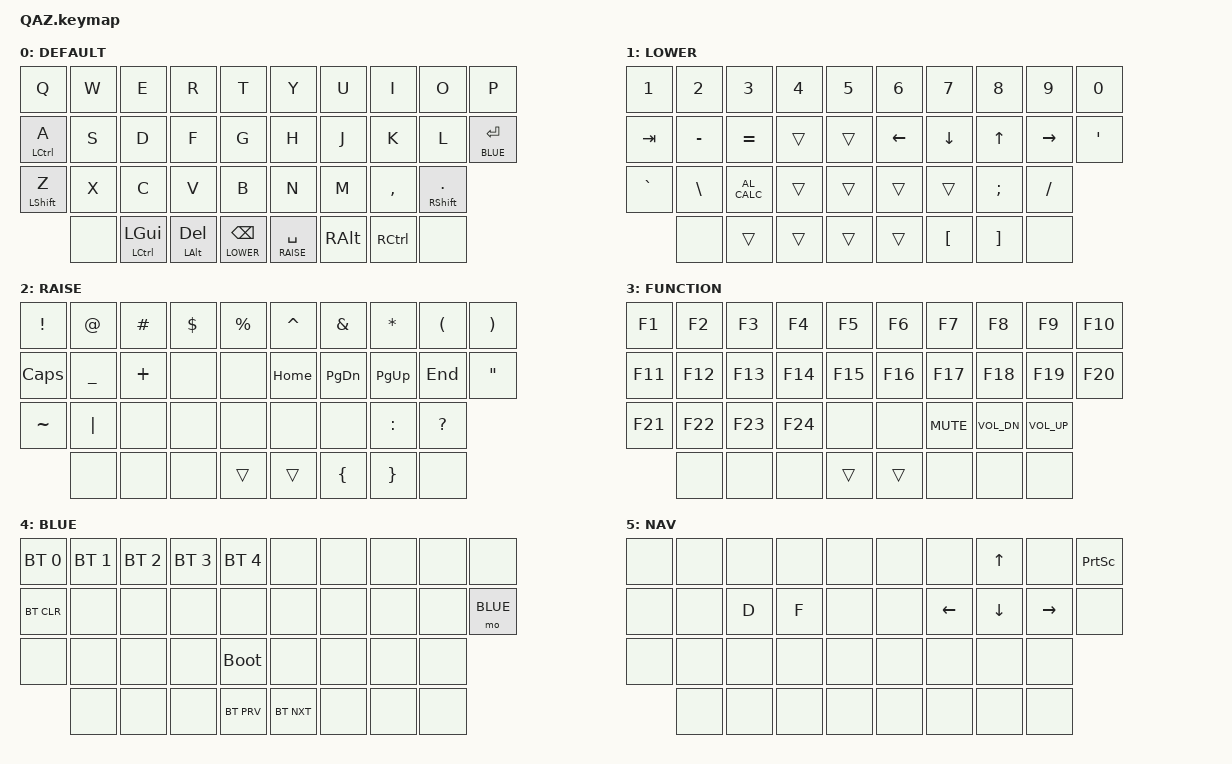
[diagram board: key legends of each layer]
/*
 * Copyright (c) 2020 The ZMK Contributors
 *
 * SPDX-License-Identifier: MIT
 */

#include <behaviors.dtsi>
#include <dt-bindings/zmk/keys.h>
#include <dt-bindings/zmk/bt.h>

#define DEFAULT 0
#define LOWER 1
#define RAISE 2
#define FUNCTION 3
#define BLUE 4
#define NAV 5

/ {
    conditional_layers {
        compatible = "zmk,conditional-layers";
        tri_layer {
            if-layers = <1 2>;
            then-layer = <3>;
        };
    };
};

/ {
    behaviors {
        gqt: global-quick-tap {
            compatible = "zmk,behavior-hold-tap";
            label = "GLOBAL_QUICK_TAP";
            #binding-cells = <2>;
            flavor = "balanced";
            tapping-term-ms = <250>;
            quick-tap-ms = <125>;
            global-quick-tap;
            bindings = <&kp>, <&kp>;
        };
    };
};    

/ {
    combos {
        compatible = "zmk,combos";
        combo_escape {
            timeout-ms = <50>;
            key-positions = <0 1 2>;
            bindings = <&kp ESCAPE>;
        };
        combo_backspace {
            timeout-ms = <50>;
            key-positions = <7 8 9>;
            bindings = <&kp BACKSPACE>;
        };
        combo_nav {
            timeout-ms = <50>;
            key-positions = <12 13>;
            bindings = <&mo NAV>;
        };
    };
};

/ {
    keymap {
        compatible = "zmk,keymap";
        DEFAULT {
            bindings = <
    &kp Q           &kp W           &kp E           &kp R           &kp T           &kp Y           &kp U           &kp I           &kp O           &kp P
    &gqt LCTRL A    &kp S           &kp D           &kp F           &kp G           &kp H           &kp J           &kp K           &kp L           &lt BLUE ENTER
    &gqt LSHIFT Z   &kp X           &kp C           &kp V           &kp B           &kp N           &kp M           &kp COMMA       &gqt RSHIFT DOT
                    &none           &mt LCTRL LGUI  &mt LALT DELETE &lt LOWER BSPC  &lt RAISE SPACE &kp RALT        &kp RCTRL       &none  
            >;
        };
        LOWER {
            bindings = <
    &kp N1          &kp N2          &kp N3          &kp N4          &kp N5          &kp N6          &kp N7          &kp N8          &kp N9          &kp N0
    &kp TAB         &kp MINUS       &kp EQUAL       &trans          &trans          &kp LEFT        &kp DOWN        &kp UP          &kp RIGHT       &kp SQT
    &kp GRAVE       &kp BACKSLASH   &kp C_AL_CALC   &trans          &trans          &trans          &trans          &kp SEMICOLON   &kp SLASH          
                    &none           &trans          &trans          &trans          &trans          &kp LBKT        &kp RBKT        &none
            >;
        };
        RAISE {
            bindings = <
    &kp EXCLAMATION &kp AT          &kp HASH        &kp DOLLAR      &kp PERCENT     &kp CARET       &kp AMPERSAND   &kp ASTERISK    &kp LPAR        &kp RPAR
    &kp CAPS        &kp UNDERSCORE  &kp PLUS        &none           &none           &kp HOME        &kp PG_DN       &kp PG_UP       &kp END         &kp DQT
    &kp TILDE       &kp PIPE        &none           &none           &none           &none           &none           &kp COLON       &kp QUESTION
                    &none           &none           &none           &trans          &trans          &kp LBRC        &kp RBRC        &none
            >;
        };
        FUNCTION {
            bindings = <
    &kp F1          &kp F2          &kp F3          &kp F4          &kp F5          &kp F6          &kp F7          &kp F8          &kp F9          &kp F10
    &kp F11         &kp F12         &kp F13         &kp F14         &kp F15         &kp F16         &kp F17         &kp F18         &kp F19         &kp F20
    &kp F21         &kp F22         &kp F23         &kp F24         &none           &none           &kp C_MUTE      &kp C_VOL_DN    &kp C_VOL_UP          
                    &none           &none           &none           &trans          &trans          &none           &none           &none
            >;
        };
        BLUE {
            bindings = <
    &bt BT_SEL 0    &bt BT_SEL 1    &bt BT_SEL 2    &bt BT_SEL 3    &bt BT_SEL 4    &none           &none           &none           &none           &none
    &bt BT_CLR      &none           &none           &none           &none           &none           &none           &none           &none           &mo BLUE
    &none           &none           &none           &none           &bootloader     &none           &none           &none           &none
                    &none           &none           &none           &bt BT_PRV      &bt BT_NXT      &none           &none           &none
            >;
        };
        NAV {
            bindings = <
    &none           &none           &none           &none           &none           &none           &none           &kp UP          &none           &kp PRINTSCREEN
    &none           &none           &kp D           &kp F           &none           &none           &kp LEFT        &kp DOWN        &kp RIGHT       &none
    &none           &none           &none           &none           &none           &none           &none           &none           &none
                    &none           &none           &none           &none           &none           &none           &none           &none
            >;
        };
    };
};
